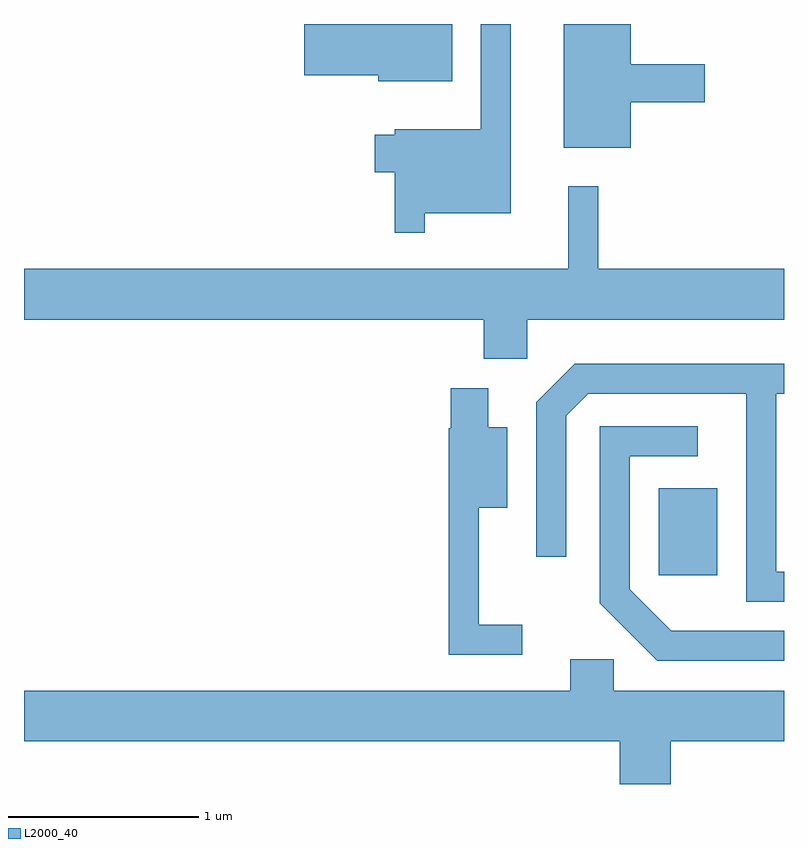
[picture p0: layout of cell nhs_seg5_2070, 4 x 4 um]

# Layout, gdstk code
import gdstk
lib = gdstk.Library(unit=1e-6, precision=1e-09)
def R(c, l, rs):  # rectangles x0, y0, x1, y1
    for r in rs: c.add(gdstk.rectangle(r[:2], r[2:], *l))
def P(c, l, *ps):  # polygons
    for p in ps: c.add(gdstk.Polygon(p, *l))
L2000_40 = (2000, 40)

nhs_seg5_2070 = lib.new_cell('nhs_seg5_2070')
R(nhs_seg5_2070, L2000_40, [(248.951,1513.171,249.259,1513.629)])
P(nhs_seg5_2070, L2000_40, [(248.804,1515.661),(249.194,1515.661),(249.194,1515.859),(248.804,1515.859),(248.804,1516.072),(248.451,1516.072),(248.451,1515.421),(248.804,1515.421)],
  [(247.719,1515.076),(248.174,1515.076),(248.174,1516.072),(248.016,1516.072),(248.016,1515.519),(247.561,1515.519),(247.561,1515.489),(247.456,1515.489),(247.456,1515.291),(247.561,1515.291),(247.561,1514.973),(247.719,1514.973)],
  [(247.864,1516.072),(247.086,1516.072),(247.086,1515.801),(247.476,1515.801),(247.476,1515.771),(247.864,1515.771)],
  [(248.259,1514.516),(249.611,1514.516),(249.611,1514.784),(248.634,1514.784),(248.634,1515.218),(248.476,1515.218),(248.476,1514.784),(245.611,1514.784),(245.611,1514.516),(248.031,1514.516),(248.031,1514.311),(248.259,1514.311)],
  [(249.611,1513.189),(249.569,1513.189),(249.569,1514.126),(249.611,1514.126),(249.611,1514.284),(248.509,1514.284),(248.306,1514.082),(248.306,1513.268),(248.464,1513.268),(248.464,1514.009),(248.582,1514.126),(249.411,1514.126),(249.411,1513.031),(249.611,1513.031)],
  [(248.233,1512.909),(248.004,1512.909),(248.004,1513.526),(248.154,1513.526),(248.154,1513.949),(248.054,1513.949),(248.054,1514.154),(247.856,1514.154),(247.856,1513.945),(247.846,1513.945),(247.846,1512.751),(248.233,1512.751)],
  [(249.611,1512.879),(249.017,1512.879),(248.799,1513.097),(248.799,1513.796),(249.158,1513.796),(249.158,1513.954),(248.641,1513.954),(248.641,1513.024),(248.944,1512.721),(249.611,1512.721)],
  [(249.014,1512.296),(249.611,1512.296),(249.611,1512.564),(248.714,1512.564),(248.714,1512.729),(248.486,1512.729),(248.486,1512.564),(245.611,1512.564),(245.611,1512.296),(248.746,1512.296),(248.746,1512.072),(249.014,1512.072)])

lib.write_gds('nhs_seg5_2070.gds')
